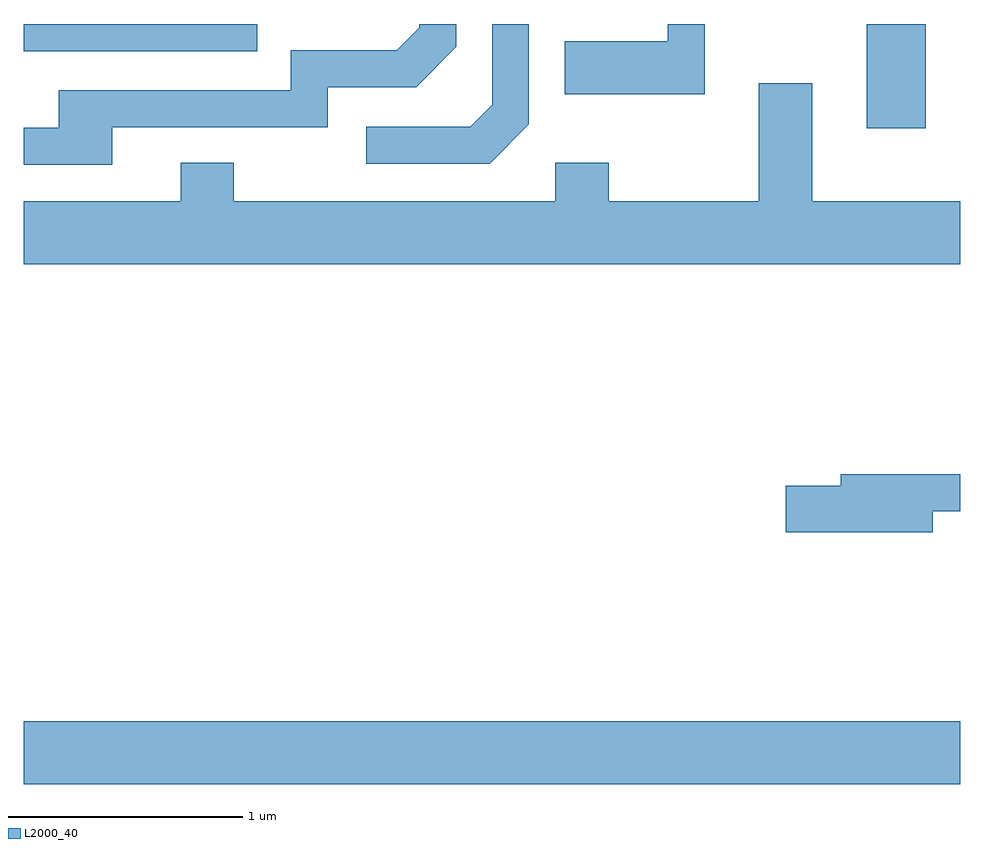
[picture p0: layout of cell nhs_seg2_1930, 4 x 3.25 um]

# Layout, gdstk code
import gdstk
lib = gdstk.Library(unit=1e-6, precision=1e-09)
def R(c, l, rs):  # rectangles x0, y0, x1, y1
    for r in rs: c.add(gdstk.rectangle(r[:2], r[2:], *l))
def P(c, l, *ps):  # polygons
    for p in ps: c.add(gdstk.Polygon(p, *l))
L2000_40 = (2000, 40)

nhs_seg2_1930 = lib.new_cell('nhs_seg2_1930')
R(nhs_seg2_1930, L2000_40, [(241.611,1030.556,245.611,1030.824), (245.211,1033.356,245.464,1033.802), (241.611,1033.686,242.608,1033.802)])
P(nhs_seg2_1930, L2000_40, [(241.989,1033.361),(242.909,1033.361),(242.909,1033.531),(243.287,1033.531),(243.459,1033.704),(243.459,1033.802),(243.301,1033.802),(243.301,1033.786),(243.204,1033.689),(242.751,1033.689),(242.751,1033.519),(241.761,1033.519),(241.761,1033.359),(241.611,1033.359),(241.611,1033.201),(241.989,1033.201)],
  [(244.519,1033.802),(244.361,1033.802),(244.361,1033.729),(243.921,1033.729),(243.921,1033.501),(244.519,1033.501)],
  [(243.769,1033.373),(243.769,1033.802),(243.611,1033.802),(243.611,1033.457),(243.519,1033.364),(243.073,1033.364),(243.073,1033.206),(243.602,1033.206)],
  [(245.611,1033.044),(244.979,1033.044),(244.979,1033.549),(244.751,1033.549),(244.751,1033.044),(244.109,1033.044),(244.109,1033.209),(243.881,1033.209),(243.881,1033.044),(242.509,1033.044),(242.509,1033.209),(242.281,1033.209),(242.281,1033.044),(241.611,1033.044),(241.611,1032.776),(245.611,1032.776)],
  [(245.494,1031.721),(245.611,1031.721),(245.611,1031.879),(245.101,1031.879),(245.101,1031.829),(244.866,1031.829),(244.866,1031.631),(245.494,1031.631)])

lib.write_gds('nhs_seg2_1930.gds')
